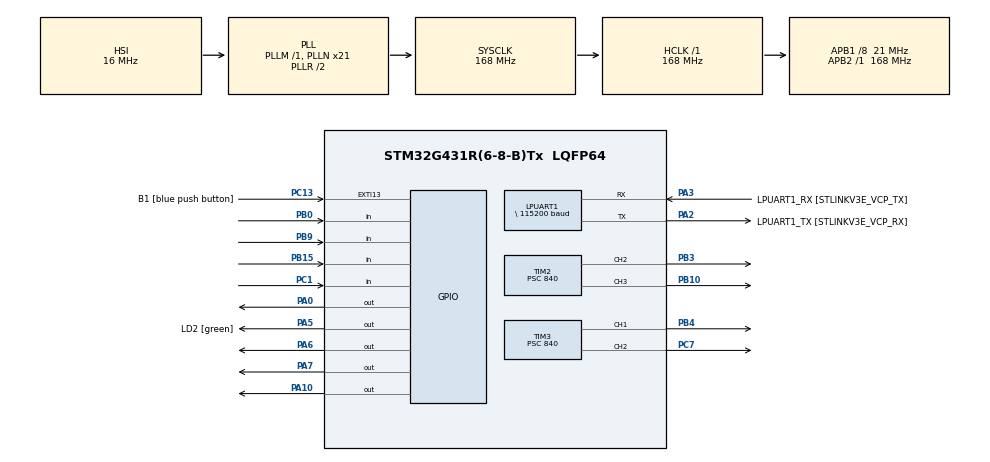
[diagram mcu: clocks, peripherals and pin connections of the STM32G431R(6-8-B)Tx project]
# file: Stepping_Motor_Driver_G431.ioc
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LPUART1.BaudRate=\ 115200
LPUART1.WordLength=UART_WORDLENGTH_8B
Mcu.Family=STM32G4
Mcu.Name=STM32G431R(6-8-B)Tx
Mcu.Package=LQFP64
NVIC.LPUART1_IRQn=true\:0\:0\:false\:false\:true\:true\:true\:true
NVIC.PriorityGroup=NVIC_PRIORITYGROUP_4
PA0.Signal=GPIO_Output
PA10.Signal=GPIO_Output
PA13.GPIO_Label=T_SWDIO
PA13.Mode=Serial_Wire
PA13.Signal=SYS_JTMS-SWDIO
PA14.GPIO_Label=T_SWCLK
PA14.Mode=Serial_Wire
PA14.Signal=SYS_JTCK-SWCLK
PA2.GPIO_Label=LPUART1_TX [STLINKV3E_VCP_RX]
PA2.Mode=Asynchronous
PA2.Signal=LPUART1_TX
PA3.GPIO_Label=LPUART1_RX [STLINKV3E_VCP_TX]
PA3.Mode=Asynchronous
PA3.Signal=LPUART1_RX
PA5.GPIO_Label=LD2 [green]
PA5.Signal=GPIO_Output
PA6.Signal=GPIO_Output
PA7.Signal=GPIO_Output
PB0.GPIO_Mode=GPIO_MODE_INPUT
PB0.GPIO_PuPd=GPIO_PULLUP
PB0.Signal=GPIO_Input
PB10.Signal=S_TIM2_CH3
PB15.GPIO_PuPd=GPIO_PULLUP
PB15.Signal=GPIO_Input
PB3.Signal=S_TIM2_CH2
PB4.Signal=S_TIM3_CH1
PB9.GPIO_PuPd=GPIO_PULLUP
PB9.Signal=GPIO_Input
PC1.GPIO_PuPd=GPIO_PULLUP
PC1.Signal=GPIO_Input
PC13.GPIO_Label=B1 [blue push button]
PC13.Signal=GPXTI13
PC14-OSC32_IN.Mode=LSE-External-Oscillator
PC14-OSC32_IN.Signal=RCC_OSC32_IN
PC15-OSC32_OUT.Mode=LSE-External-Oscillator
PC15-OSC32_OUT.Signal=RCC_OSC32_OUT
PC7.Signal=S_TIM3_CH2
PF0-OSC_IN.Mode=HSE-External-Oscillator
PF0-OSC_IN.Signal=RCC_OSC_IN
PF1-OSC_OUT.Mode=HSE-External-Oscillator
PF1-OSC_OUT.Signal=RCC_OSC_OUT
ProjectManager.HeapSize=0x200
ProjectManager.StackSize=0x400
ProjectManager.TargetToolchain=STM32CubeIDE
RCC.ADC12Freq_Value=168000000
RCC.AHBFreq_Value=168000000
RCC.APB1CLKDivider=RCC_HCLK_DIV8
RCC.APB1Freq_Value=21000000
RCC.APB1TimFreq_Value=42000000
RCC.APB2Freq_Value=168000000
RCC.APB2TimFreq_Value=168000000
RCC.CortexFreq_Value=168000000
RCC.EXTERNAL_CLOCK_VALUE=12288000
RCC.HCLKFreq_Value=168000000
RCC.HSE_VALUE=24000000
RCC.HSI48_VALUE=48000000
RCC.HSI_VALUE=16000000
RCC.PLLN=21
RCC.RTCClockSelection=RCC_RTCCLKSOURCE_LSE
RCC.SYSCLKFreq_VALUE=168000000
RCC.SYSCLKSource=RCC_SYSCLKSOURCE_PLLCLK
RCC.USBFreq_Value=168000000
RCC.VCOOutputFreq_Value=336000000
SH.S_TIM2_CH2.0=TIM2_CH2,PWM Generation2 CH2
SH.S_TIM2_CH3.0=TIM2_CH3,PWM Generation3 CH3
SH.S_TIM3_CH1.0=TIM3_CH1,PWM Generation1 CH1
SH.S_TIM3_CH2.0=TIM3_CH2,PWM Generation2 CH2
TIM2.Channel-PWM\ Generation2\ CH2=TIM_CHANNEL_2
TIM2.Channel-PWM\ Generation3\ CH3=TIM_CHANNEL_3
TIM2.PeriodNoDither=1000
TIM2.Prescaler=840
TIM3.Channel-PWM\ Generation1\ CH1=TIM_CHANNEL_1
TIM3.Channel-PWM\ Generation2\ CH2=TIM_CHANNEL_2
TIM3.PeriodNoDither=1000
TIM3.Prescaler=840
VP_SYS_VS_DBSignals.Mode=DisableDeadBatterySignals
VP_TIM3_VS_ClockSourceINT.Mode=Internal
board=NUCLEO-G431RB

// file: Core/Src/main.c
/* USER CODE BEGIN Header */
/**
  ******************************************************************************
  * @file           : main.c
  * @brief          : Main program body
  ******************************************************************************
  * @attention
  *
  * Copyright (c) 2024 STMicroelectronics.
  * All rights reserved.
  *
  * This software is licensed under terms that can be found in the LICENSE file
  * in the root directory of this software component.
  * If no LICENSE file comes with this software, it is provided AS-IS.
  *
  ******************************************************************************
  */
/* USER CODE END Header */
#include "main.h"

/* USER CODE BEGIN Includes */
#include "initial.h"
#include <stdio.h>
#include <stdint.h>
#include <string.h> // Include for memcpy
#include <stdlib.h>
/* USER CODE END Includes */

UART_HandleTypeDef hlpuart1;

TIM_HandleTypeDef htim2;
TIM_HandleTypeDef htim3;

void SystemClock_Config(void);
static void MX_GPIO_Init(void);
static void MX_LPUART1_UART_Init(void);
static void MX_TIM3_Init(void);
static void MX_TIM2_Init(void);

/* USER CODE BEGIN 0 */
#ifdef __GNUC__
	#define PUTCHAR_PROTOTYPE int __io_putchar(int ch)
#else
	#define PUTCHAR_PROTOTYPE int fputc(int ch, FILE *f)
#endif /*__GNUC__*/

PUTCHAR_PROTOTYPE {
	HAL_UART_Transmit(&hlpuart1, (uint8_t*)&ch, 1, 0xFFFF);
	return ch;
}
/* USER CODE END 0 */

int main(void)
{

  /* MCU Configuration--------------------------------------------------------*/

  /* Reset of all peripherals, Initializes the Flash interface and the Systick. */
  HAL_Init();

  /* Configure the system clock */
  SystemClock_Config();

  /* Initialize all configured peripherals */
  MX_GPIO_Init();
  MX_LPUART1_UART_Init();
  MX_TIM3_Init();
  MX_TIM2_Init();
  /* USER CODE BEGIN 2 */
	HAL_TIM_PWM_Start(&htim3, TIM_CHANNEL_1);
	HAL_TIM_PWM_Start(&htim3, TIM_CHANNEL_2);
	HAL_TIM_PWM_Start(&htim2, TIM_CHANNEL_1);
	HAL_TIM_PWM_Start(&htim2, TIM_CHANNEL_2);
  /* USER CODE END 2 */

  /* Infinite loop */
  /* USER CODE BEGIN WHILE */
//	setServoAngle(&htim3, TIM_CHANNEL_1, 0);

	 init();

//	 setServoAngle(&htim3, TIM_CHANNEL_1, 170);
	 setbuf(stdout, NULL);
	 setbuf(stdin, NULL);

  set_Stepping_Motor(90);
	// setServoAngle(&htim3, TIM_CHANNEL_1, 90);

  //setServoAngle(&htim3, TIM_CHANNEL_1, 0);
  while (1)
  {
    /* USER CODE END WHILE */

    /* USER CODE BEGIN 3 */
	  UART_Receive();
	  if(push_servo_flog){
		  push_marshmallow(1);
		  //HAL_Delay(100);
	  }else  {
		  push_marshmallow(0);

	  }
	 // setServoAngle(&htim3, TIM_CHANNEL_1,50);
//
	  if(angel_floag) {
		  set_Stepping_Motor(step_angle);
		  //
	  }
	 // if(angel_floag) stepping_motor(step_angle/100);
	 // else  set_Stepping_Motor(0);
//
	  if(motor_flog) Motor(1000,1000);
	  else  Motor(0,0);

	  if(face_detection) buzzer(1);
	  else buzzer(0);

	  if(caliblation)step_Initialization();
//	  set_Stepping_Motor(135);
//	  HAL_Delay(1000);
//	  set_Stepping_Motor(90);
//	  HAL_Delay(1000);
//	  if(limit_switche_1())Gun_Angle=0;
//	  if(limit_switche_2())Gun_Angle=180;
	  //if(limit_switche_1()) setServoAngle(&htim3, TIM_CHANNEL_1, 170);
	 // else  setServoAngle(&htim3, TIM_CHANNEL_1, 170);
//
//	  HAL_GPIO_WritePin(GPIOA, GPIO_PIN_5, GPIO_PIN_SET);
	 // setServoAngle(&htim3, TIM_CHANNEL_1, 0);
	 // HAL_Delay(1000);
//	  HAL_GPIO_WritePin(GPIOA, GPIO_PIN_5, GPIO_PIN_RESET);
	 // setServoAngle(&htim3, TIM_CHANNEL_1, 170);
	 // HAL_Delay(1000);

//	  HAL_GPIO_WritePin(GPIOA, GPIO_PIN_10, GPIO_PIN_SET);
	 // HAL_Delay(10);
//	  HAL_GPIO_WritePin(GPIOA, GPIO_PIN_10, GPIO_PIN_RESET);
  }
  /* USER CODE END 3 */
}

void SystemClock_Config(void)
{
  RCC_OscInitTypeDef RCC_OscInitStruct = {0};
  RCC_ClkInitTypeDef RCC_ClkInitStruct = {0};

  /** Configure the main internal regulator output voltage
  */
  HAL_PWREx_ControlVoltageScaling(PWR_REGULATOR_VOLTAGE_SCALE1_BOOST);

  /** Initializes the RCC Oscillators according to the specified parameters
  * in the RCC_OscInitTypeDef structure.
  */
  RCC_OscInitStruct.OscillatorType = RCC_OSCILLATORTYPE_HSI;
  RCC_OscInitStruct.HSIState = RCC_HSI_ON;
  RCC_OscInitStruct.HSICalibrationValue = RCC_HSICALIBRATION_DEFAULT;
  RCC_OscInitStruct.PLL.PLLState = RCC_PLL_ON;
  RCC_OscInitStruct.PLL.PLLSource = RCC_PLLSOURCE_HSI;
  RCC_OscInitStruct.PLL.PLLM = RCC_PLLM_DIV1;
  RCC_OscInitStruct.PLL.PLLN = 21;
  RCC_OscInitStruct.PLL.PLLP = RCC_PLLP_DIV2;
  RCC_OscInitStruct.PLL.PLLQ = RCC_PLLQ_DIV2;
  RCC_OscInitStruct.PLL.PLLR = RCC_PLLR_DIV2;
  if (HAL_RCC_OscConfig(&RCC_OscInitStruct) != HAL_OK)
  {
    Error_Handler();
  }

  /** Initializes the CPU, AHB and APB buses clocks
  */
  RCC_ClkInitStruct.ClockType = RCC_CLOCKTYPE_HCLK|RCC_CLOCKTYPE_SYSCLK
                              |RCC_CLOCKTYPE_PCLK1|RCC_CLOCKTYPE_PCLK2;
  RCC_ClkInitStruct.SYSCLKSource = RCC_SYSCLKSOURCE_PLLCLK;
  RCC_ClkInitStruct.AHBCLKDivider = RCC_SYSCLK_DIV1;
  RCC_ClkInitStruct.APB1CLKDivider = RCC_HCLK_DIV8;
  RCC_ClkInitStruct.APB2CLKDivider = RCC_HCLK_DIV1;

  if (HAL_RCC_ClockConfig(&RCC_ClkInitStruct, FLASH_LATENCY_4) != HAL_OK)
  {
    Error_Handler();
  }
}

static void MX_LPUART1_UART_Init(void)
{

  hlpuart1.Instance = LPUART1;
  hlpuart1.Init.BaudRate = 115200;
  hlpuart1.Init.WordLength = UART_WORDLENGTH_8B;
  hlpuart1.Init.StopBits = UART_STOPBITS_1;
  hlpuart1.Init.Parity = UART_PARITY_NONE;
  hlpuart1.Init.Mode = UART_MODE_TX_RX;
  hlpuart1.Init.HwFlowCtl = UART_HWCONTROL_NONE;
  hlpuart1.Init.OneBitSampling = UART_ONE_BIT_SAMPLE_DISABLE;
  hlpuart1.Init.ClockPrescaler = UART_PRESCALER_DIV1;
  hlpuart1.AdvancedInit.AdvFeatureInit = UART_ADVFEATURE_NO_INIT;
  if (HAL_UART_Init(&hlpuart1) != HAL_OK)
  {
    Error_Handler();
  }
  if (HAL_UARTEx_SetTxFifoThreshold(&hlpuart1, UART_TXFIFO_THRESHOLD_1_8) != HAL_OK)
  {
    Error_Handler();
  }
  if (HAL_UARTEx_SetRxFifoThreshold(&hlpuart1, UART_RXFIFO_THRESHOLD_1_8) != HAL_OK)
  {
    Error_Handler();
  }
  if (HAL_UARTEx_DisableFifoMode(&hlpuart1) != HAL_OK)
  {
    Error_Handler();
  }

}

static void MX_TIM2_Init(void)
{

  TIM_MasterConfigTypeDef sMasterConfig = {0};
  TIM_OC_InitTypeDef sConfigOC = {0};

  htim2.Instance = TIM2;
  htim2.Init.Prescaler = 840;
  htim2.Init.CounterMode = TIM_COUNTERMODE_UP;
  htim2.Init.Period = 1000;
  htim2.Init.ClockDivision = TIM_CLOCKDIVISION_DIV1;
  htim2.Init.AutoReloadPreload = TIM_AUTORELOAD_PRELOAD_DISABLE;
  if (HAL_TIM_PWM_Init(&htim2) != HAL_OK)
  {
    Error_Handler();
  }
  sMasterConfig.MasterOutputTrigger = TIM_TRGO_RESET;
  sMasterConfig.MasterSlaveMode = TIM_MASTERSLAVEMODE_DISABLE;
  if (HAL_TIMEx_MasterConfigSynchronization(&htim2, &sMasterConfig) != HAL_OK)
  {
    Error_Handler();
  }
  sConfigOC.OCMode = TIM_OCMODE_PWM1;
  sConfigOC.Pulse = 0;
  sConfigOC.OCPolarity = TIM_OCPOLARITY_HIGH;
  sConfigOC.OCFastMode = TIM_OCFAST_DISABLE;
  if (HAL_TIM_PWM_ConfigChannel(&htim2, &sConfigOC, TIM_CHANNEL_2) != HAL_OK)
  {
    Error_Handler();
  }
  if (HAL_TIM_PWM_ConfigChannel(&htim2, &sConfigOC, TIM_CHANNEL_3) != HAL_OK)
  {
    Error_Handler();
  }
  HAL_TIM_MspPostInit(&htim2);

}

static void MX_TIM3_Init(void)
{

  TIM_ClockConfigTypeDef sClockSourceConfig = {0};
  TIM_MasterConfigTypeDef sMasterConfig = {0};
  TIM_OC_InitTypeDef sConfigOC = {0};

  htim3.Instance = TIM3;
  htim3.Init.Prescaler = 840;
  htim3.Init.CounterMode = TIM_COUNTERMODE_UP;
  htim3.Init.Period = 1000;
  htim3.Init.ClockDivision = TIM_CLOCKDIVISION_DIV1;
  htim3.Init.AutoReloadPreload = TIM_AUTORELOAD_PRELOAD_DISABLE;
  if (HAL_TIM_Base_Init(&htim3) != HAL_OK)
  {
    Error_Handler();
  }
  sClockSourceConfig.ClockSource = TIM_CLOCKSOURCE_INTERNAL;
  if (HAL_TIM_ConfigClockSource(&htim3, &sClockSourceConfig) != HAL_OK)
  {
    Error_Handler();
  }
  if (HAL_TIM_PWM_Init(&htim3) != HAL_OK)
  {
    Error_Handler();
  }
  sMasterConfig.MasterOutputTrigger = TIM_TRGO_RESET;
  sMasterConfig.MasterSlaveMode = TIM_MASTERSLAVEMODE_DISABLE;
  if (HAL_TIMEx_MasterConfigSynchronization(&htim3, &sMasterConfig) != HAL_OK)
  {
    Error_Handler();
  }
  sConfigOC.OCMode = TIM_OCMODE_PWM1;
  sConfigOC.Pulse = 0;
  sConfigOC.OCPolarity = TIM_OCPOLARITY_HIGH;
  sConfigOC.OCFastMode = TIM_OCFAST_DISABLE;
  if (HAL_TIM_PWM_ConfigChannel(&htim3, &sConfigOC, TIM_CHANNEL_1) != HAL_OK)
  {
    Error_Handler();
  }
  if (HAL_TIM_PWM_ConfigChannel(&htim3, &sConfigOC, TIM_CHANNEL_2) != HAL_OK)
  {
    Error_Handler();
  }
  HAL_TIM_MspPostInit(&htim3);

}

static void MX_GPIO_Init(void)
{
  GPIO_InitTypeDef GPIO_InitStruct = {0};

  /* GPIO Ports Clock Enable */
  __HAL_RCC_GPIOC_CLK_ENABLE();
  __HAL_RCC_GPIOF_CLK_ENABLE();
  __HAL_RCC_GPIOA_CLK_ENABLE();
  __HAL_RCC_GPIOB_CLK_ENABLE();

  /*Configure GPIO pin Output Level */
  HAL_GPIO_WritePin(GPIOA, GPIO_PIN_0|LD2_Pin|GPIO_PIN_6|GPIO_PIN_7
                          |GPIO_PIN_10, GPIO_PIN_RESET);

  /*Configure GPIO pin : B1_Pin */
  GPIO_InitStruct.Pin = B1_Pin;
  GPIO_InitStruct.Mode = GPIO_MODE_IT_RISING;
  GPIO_InitStruct.Pull = GPIO_NOPULL;
  HAL_GPIO_Init(B1_GPIO_Port, &GPIO_InitStruct);

  /*Configure GPIO pin : PC1 */
  GPIO_InitStruct.Pin = GPIO_PIN_1;
  GPIO_InitStruct.Mode = GPIO_MODE_INPUT;
  GPIO_InitStruct.Pull = GPIO_PULLUP;
  HAL_GPIO_Init(GPIOC, &GPIO_InitStruct);

  /*Configure GPIO pins : PA0 LD2_Pin PA6 PA7
                           PA10 */
  GPIO_InitStruct.Pin = GPIO_PIN_0|LD2_Pin|GPIO_PIN_6|GPIO_PIN_7
                          |GPIO_PIN_10;
  GPIO_InitStruct.Mode = GPIO_MODE_OUTPUT_PP;
  GPIO_InitStruct.Pull = GPIO_NOPULL;
  GPIO_InitStruct.Speed = GPIO_SPEED_FREQ_LOW;
  HAL_GPIO_Init(GPIOA, &GPIO_InitStruct);

  /*Configure GPIO pins : PB0 PB15 PB9 */
  GPIO_InitStruct.Pin = GPIO_PIN_0|GPIO_PIN_15|GPIO_PIN_9;
  GPIO_InitStruct.Mode = GPIO_MODE_INPUT;
  GPIO_InitStruct.Pull = GPIO_PULLUP;
  HAL_GPIO_Init(GPIOB, &GPIO_InitStruct);

}

void Error_Handler(void)
{
  __disable_irq();
  while (1)
  {
  }
}
